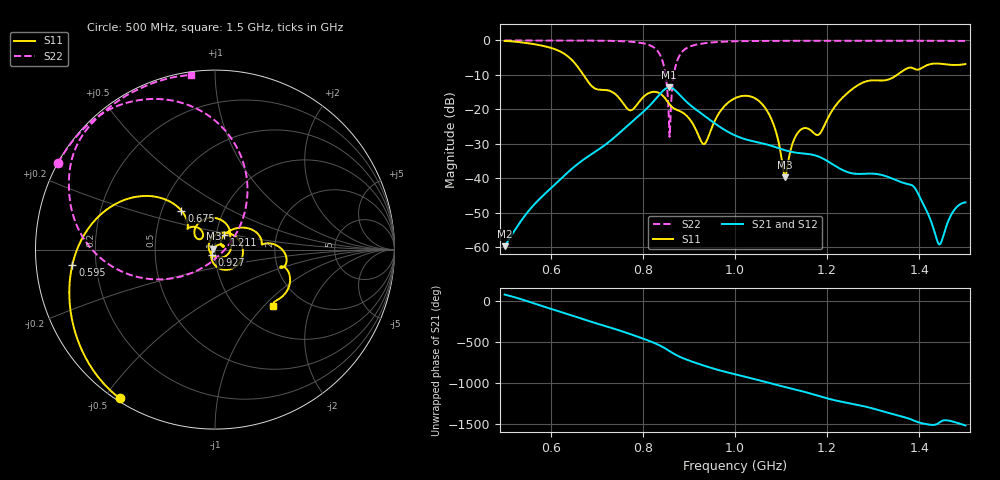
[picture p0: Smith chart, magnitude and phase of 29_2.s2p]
! TOUCHSTONE file generated by CST MICROWAVE STUDIO
! Date and time: Fri Oct  2 16:20:34 2020
! Project name: Scenario_1_Free_Space_out_of_line.cst
! Parameters = {Lambda=346.42; Step_1=17.321; dy1=-137.908; dx1=346; L_HA=400; MT=2.54; Rad_Dielectric=30; Rad_Lower=7.3; Rad_Upper=30; a_HA=580; a_WG=246; b_HA=500; b_WG=121; c_HA=0; c_WG=187; d_feed=85; h_feed=15; h_lower=18; h_upper=40}
! Header version: 2018
! Port assignment regex: !\s*Touchstone port\s*([0-9]+)\s*=\s*(CST MWS port|CST DS port)\s*([0-9]+|Zmin|Zmax)\s*\(\"(.*)\"\)(\s*mode\s*([0-9]+))?.*
! Touchstone port assignment:
! Touchstone port 1 = CST MWS port 1 ("")
! Touchstone port 2 = CST MWS port 2 ("")
# GHz S DB R 50
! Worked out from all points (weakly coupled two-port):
!   1003 points, 500 MHz to 1.5 GHz, reference 50 ohm
!   highest |S21| = -13.63 dB at 857 MHz (marker M1); lowest = -59.7 dB at 500 MHz (marker M2)
!   lowest |S11| = -39.7 dB at 1.108 GHz (marker M3), VSWR 1.02, Z = 49.1 + j0.511 ohm
!   |S11| at or under -10 dB: 670.9 MHz to 1.352 GHz (680.9 MHz wide, 67.3 % of centre)
!   |S22| runs from -28.0 to 0.0 dB; largest |S21 - S12| = 1.7e-05
!   S11 on the Smith chart (normalised r, x): 500 MHz: 0.01, -0.55; 595 MHz: 0.11, -0.05; 675 MHz: 0.63, +0.30; 927 MHz: 0.97, -0.06; 1.211 GHz: 1.09, +0.18; 1.5 GHz: 1.43, -1.14
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0.5  -0.14 -122.7  -59.70 76.9  -59.70 76.9  -0.01 151.1
0.595  -1.95 -174.0  -43.55 -87.7  -43.55 -87.7  -0.02 144.4
0.667  -9.23 132.2  -34.99 142.5  -34.99 142.5  -0.04 138.3
0.675  -10.83 130.8  -34.23 127.7  -34.23 127.7  -0.05 137.5
0.772  -20.27 137.0  -24.12 -44.3  -24.12 -44.3  -0.36 122.3
0.834  -15.19 85.9  -16.04 -177.1  -16.04 -177.1  -3.42 85.9
0.847  -16.58 60.6  -14.23 144.2  -14.23 144.2  -8.24 62.1
0.857  -18.34 45.2  -13.63 109.7  -13.63 109.7  -24.77 3.1
0.879  -20.42 18.8  -15.65 40.1  -15.65 40.1  -4.53 -171.8
0.927  -29.38 -117.1  -21.21 -60.5  -21.21 -60.5  -0.94 155.2
1  -16.76 19.6  -27.56 -176.4  -27.56 -176.4  -0.24 140.2
1.067  -19.87 -80.8  -30.11 88.5  -30.11 88.5  -0.14 132.6
1.088  -26.10 -114.5  -30.97 57.2  -30.97 57.2  -0.13 130.6
1.108  -39.72 149.8  -31.84 28.8  -31.84 28.8  -0.12 128.9
1.135  -27.05 39.7  -32.62 -8.1  -32.62 -8.1  -0.11 126.6
1.167  -26.38 17.8  -33.14 -56.6  -33.14 -56.6  -0.10 124.1
1.211  -20.33 58.0  -35.86 -126.2  -35.86 -126.2  -0.09 120.7
1.27  -12.74 29.4  -38.74 166.0  -38.74 166.0  -0.09 116.2
1.334  -11.30 6.6  -39.70 70.7  -39.70 70.7  -0.09 111.4
1.39  -8.29 -15.4  -42.76 -25.5  -42.76 -25.5  -0.09 107.0
1.443  -6.73 -32.5  -59.18 -47.7  -59.16 -47.6  -0.12 102.6
1.5  -6.87 -44.3  -46.98 -81.0  -46.95 -80.9  -0.15 97.8
